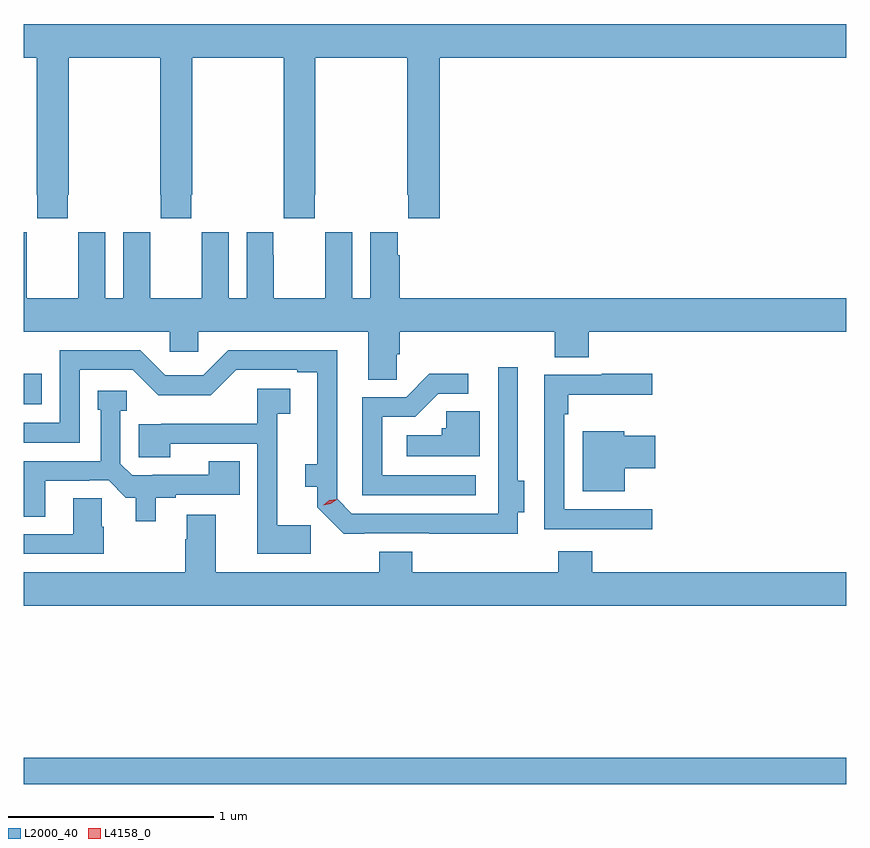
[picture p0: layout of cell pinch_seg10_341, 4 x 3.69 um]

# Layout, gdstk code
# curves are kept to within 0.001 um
import gdstk
lib = gdstk.Library(unit=1e-6, precision=1e-09)
def R(c, l, rs):  # rectangles x0, y0, x1, y1
    for r in rs: c.add(gdstk.rectangle(r[:2], r[2:], *l))
def P(c, l, *ps):  # polygons
    for p in ps: c.add(gdstk.Polygon(p, *l))
L2000_40 = (2000, 40)
L4158_0 = (4158, 0)

pinch_seg10_341 = lib.new_cell('pinch_seg10_341')
R(pinch_seg10_341, L2000_40, [(457.017,1270.146,461.017,1270.274), (457.017,1271.991,457.105,1272.139)])
P(pinch_seg10_341, L2000_40, [(457.233,1273.009),(457.236,1273.009),(457.236,1273.676),(457.681,1273.676),(457.681,1273.009),(457.683,1273.009),(457.683,1272.897),(457.833,1272.897),(457.833,1273.009),(457.836,1273.009),(457.836,1273.676),(458.281,1273.676),(458.281,1273.009),(458.283,1273.009),(458.283,1272.897),(458.433,1272.897),(458.433,1273.009),(458.436,1273.009),(458.436,1273.676),(458.881,1273.676),(458.881,1273.009),(458.887,1273.009),(458.887,1272.897),(459.041,1272.897),(459.041,1273.676),(461.017,1273.676),(461.017,1273.84),(457.017,1273.84),(457.017,1273.676),(457.081,1273.676),(457.081,1273.009),(457.083,1273.009),(457.083,1272.897),(457.233,1272.897)],
  [(458.832,1272.235),(458.846,1272.235),(458.846,1272.344),(459.599,1272.344),(459.599,1272.22),(459.764,1272.22),(459.764,1272.344),(461.017,1272.344),(461.017,1272.508),(458.846,1272.508),(458.846,1272.716),(458.836,1272.716),(458.836,1272.829),(458.702,1272.829),(458.702,1272.508),(458.614,1272.508),(458.614,1272.829),(458.484,1272.829),(458.484,1272.716),(458.483,1272.716),(458.483,1272.508),(458.233,1272.508),(458.233,1272.716),(458.232,1272.716),(458.232,1272.829),(458.102,1272.829),(458.102,1272.508),(458.014,1272.508),(458.014,1272.829),(457.884,1272.829),(457.884,1272.716),(457.883,1272.716),(457.883,1272.508),(457.633,1272.508),(457.633,1272.716),(457.632,1272.716),(457.632,1272.829),(457.502,1272.829),(457.502,1272.508),(457.414,1272.508),(457.414,1272.829),(457.284,1272.829),(457.284,1272.716),(457.283,1272.716),(457.283,1272.508),(457.033,1272.508),(457.033,1272.716),(457.032,1272.716),(457.032,1272.829),(457.017,1272.829),(457.017,1272.344),(457.728,1272.344),(457.728,1272.246),(457.866,1272.246),(457.866,1272.344),(458.693,1272.344),(458.693,1272.112),(458.832,1272.112)],
  [(458.674,1271.364),(459.42,1271.363),(459.42,1271.468),(459.451,1271.468),(459.451,1271.621),(459.42,1271.621),(459.42,1272.172),(459.324,1272.172),(459.324,1271.46),(458.613,1271.46),(458.541,1271.532),(458.541,1272.255),(458.013,1272.255),(457.89,1272.132),(457.707,1272.132),(457.584,1272.255),(457.194,1272.255),(457.194,1271.901),(457.017,1271.901),(457.017,1271.805),(457.29,1271.805),(457.29,1272.159),(457.548,1272.159),(457.672,1272.035),(457.926,1272.035),(458.05,1272.159),(458.348,1272.159),(458.348,1272.147),(458.444,1272.147),(458.444,1271.701),(458.387,1271.701),(458.387,1271.591),(458.444,1271.591),(458.444,1271.492),(458.573,1271.363)],
  [(459.214,1271.646),(458.76,1271.646),(458.76,1271.931),(458.922,1271.931),(459.033,1272.042),(459.178,1272.042),(459.178,1272.14),(458.99,1272.14),(458.877,1272.027),(458.664,1272.027),(458.664,1271.55),(459.214,1271.55)],
  [(460.072,1271.481),(459.645,1271.481),(459.645,1271.942),(459.665,1271.942),(459.665,1272.038),(460.072,1272.038),(460.072,1272.139),(459.827,1272.139),(459.827,1272.135),(459.549,1272.135),(459.549,1271.385),(460.072,1271.385)],
  [(458.412,1271.403),(458.251,1271.403),(458.251,1271.946),(458.314,1271.946),(458.314,1272.067),(458.154,1272.067),(458.154,1271.896),(457.687,1271.896),(457.687,1271.895),(457.577,1271.895),(457.577,1271.734),(457.731,1271.734),(457.731,1271.799),(458.154,1271.799),(458.154,1271.264),(458.412,1271.264)],
  [(457.66,1271.538),(457.756,1271.538),(457.756,1271.553),(458.069,1271.553),(458.069,1271.714),(457.918,1271.714),(457.918,1271.649),(457.645,1271.649),(457.645,1271.646),(457.545,1271.646),(457.488,1271.703),(457.488,1271.959),(457.518,1271.959),(457.518,1272.057),(457.379,1272.057),(457.379,1271.964),(457.392,1271.964),(457.392,1271.715),(457.017,1271.715),(457.017,1271.446),(457.123,1271.446),(457.123,1271.619),(457.337,1271.619),(457.337,1271.622),(457.431,1271.622),(457.515,1271.538),(457.562,1271.538),(457.562,1271.424),(457.66,1271.424)],
  [(459.235,1271.957),(459.072,1271.957),(459.072,1271.874),(459.05,1271.874),(459.05,1271.842),(458.88,1271.842),(458.88,1271.738),(459.235,1271.738)],
  [(459.94,1271.681),(460.087,1271.681),(460.087,1271.839),(459.936,1271.839),(459.936,1271.86),(459.734,1271.86),(459.734,1271.57),(459.94,1271.57)],
  [(457.407,1271.397),(457.397,1271.397),(457.397,1271.534),(457.259,1271.534),(457.259,1271.361),(457.017,1271.361),(457.017,1271.265),(457.407,1271.265)],
  [(461.017,1271.176),(459.782,1271.176),(459.782,1271.278),(459.617,1271.278),(459.617,1271.176),(458.906,1271.176),(458.906,1271.275),(458.746,1271.275),(458.746,1271.176),(457.951,1271.176),(457.951,1271.455),(457.811,1271.455),(457.811,1271.336),(457.804,1271.336),(457.804,1271.176),(457.017,1271.176),(457.017,1271.012),(461.017,1271.012)])
P(pinch_seg10_341, L4158_0, [(458.474,1271.502),(458.474,1271.502),(458.474,1271.502),(458.503,1271.525),(458.54,1271.53),(458.541,1271.53),(458.541,1271.53),(458.511,1271.507)])

lib.write_gds('pinch_seg10_341.gds')
